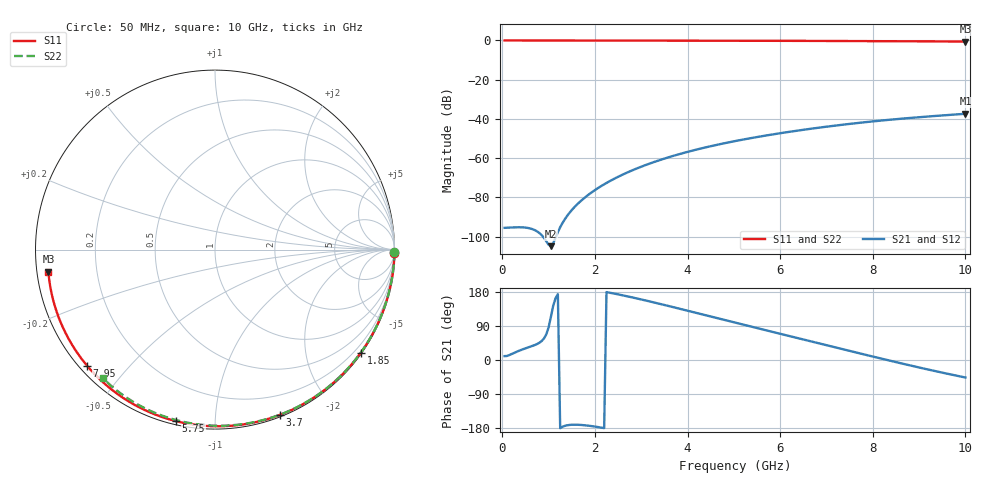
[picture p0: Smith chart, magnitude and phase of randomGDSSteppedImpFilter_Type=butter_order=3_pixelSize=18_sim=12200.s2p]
! freq	dB(S11)	phase(S11)	dB(S12)	phase(S12)
!  dB(S21)	phase(S21)	dB(S22)	phase(S22)
!S-par simulation data
#  GHz  S  DB  R 50
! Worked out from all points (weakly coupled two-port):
!   200 points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, 50 MHz to 10 GHz, reference 50 ohm
!   highest |S21| = -37.36 dB at 10 GHz (marker M1); lowest = -104.8 dB at 1.05 GHz (marker M2)
!   lowest |S11| = -0.6 dB at 10 GHz (marker M3), VSWR 30.47, Z = 1.65 - j3.3 ohm
!   |S11| at or under -10 dB: nowhere
!   |S22| runs from -0.4 to 0.0 dB; largest |S21 - S12| = 0
!   S11 on the Smith chart (normalised r, x): 50 MHz: open; 1.85 GHz: 0.03, -3.15; 3.7 GHz: 0.02, -1.47; 5.75 GHz: 0.02, -0.80; 7.95 GHz: 0.02, -0.39; 10 GHz: 0.03, -0.07
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0.05  -0.00 -1.0  -95.47 10.3  -95.47 10.3  -0.00 -0.8
0.55  -0.01 -10.6  -95.51 32.8  -95.51 32.8  -0.01 -8.3
1.05  -0.02 -20.2  -104.81 114.1  -104.81 114.1  -0.02 -15.8
1.75  -0.04 -33.4  -80.67 -171.9  -80.67 -171.9  -0.03 -26.1
1.8  -0.04 -34.3  -79.70 -172.5  -79.70 -172.5  -0.03 -26.9
1.85  -0.04 -35.2  -78.78 -173.2  -78.78 -173.2  -0.04 -27.6
2  -0.05 -38.0  -76.24 -175.7  -76.24 -175.7  -0.04 -29.8
2.15  -0.05 -40.8  -73.98 -178.6  -73.98 -178.6  -0.04 -32.0
2.5  -0.06 -47.2  -69.47 173.2  -69.47 173.2  -0.05 -37.0
2.9  -0.07 -54.4  -65.26 162.6  -65.26 162.6  -0.06 -42.7
3.4  -0.08 -63.3  -60.95 148.2  -60.95 148.2  -0.07 -49.8
3.7  -0.09 -68.5  -58.75 139.2  -58.75 139.2  -0.07 -53.9
4.35  -0.11 -79.7  -54.70 119.4  -54.70 119.4  -0.09 -62.8
5.05  -0.14 -91.3  -51.16 98.0  -51.16 98.0  -0.11 -72.0
5.75  -0.17 -102.8  -48.21 76.7  -48.21 76.7  -0.14 -81.0
6.2  -0.20 -110.0  -46.54 63.1  -46.54 63.1  -0.15 -86.7
6.7  -0.23 -118.0  -44.86 48.1  -44.86 48.1  -0.18 -92.8
7.3  -0.28 -127.5  -43.06 30.0  -43.06 30.0  -0.21 -100.1
7.95  -0.33 -137.9  -41.36 10.6  -41.36 10.6  -0.26 -107.8
8.35  -0.37 -144.3  -40.43 -1.2  -40.43 -1.2  -0.29 -112.5
9.2  -0.47 -158.4  -38.73 -25.3  -38.73 -25.3  -0.36 -122.2
10  -0.57 -172.4  -37.36 -46.2  -37.36 -46.2  -0.45 -131.1
